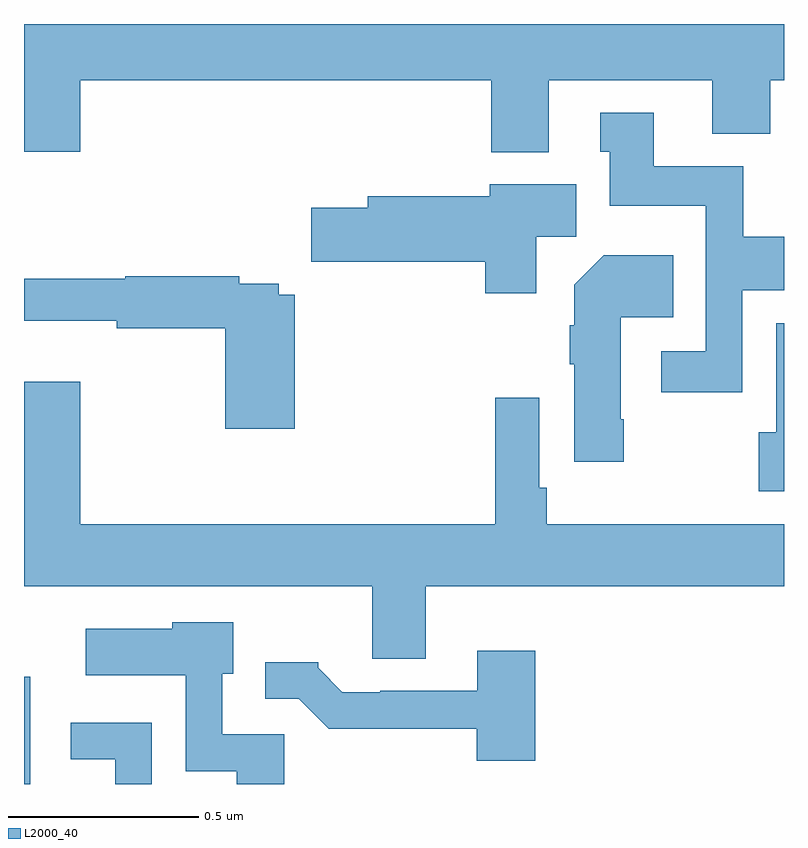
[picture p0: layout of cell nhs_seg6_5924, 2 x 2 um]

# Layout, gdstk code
import gdstk
lib = gdstk.Library(unit=1e-6, precision=1e-09)
def R(c, l, rs):  # rectangles x0, y0, x1, y1
    for r in rs: c.add(gdstk.rectangle(r[:2], r[2:], *l))
def P(c, l, *ps):  # polygons
    for p in ps: c.add(gdstk.Polygon(p, *l))
L2000_40 = (2000, 40)

nhs_seg6_5924 = lib.new_cell('nhs_seg6_5924')
R(nhs_seg6_5924, L2000_40, [(189,929.5,189.016,929.782)])
P(nhs_seg6_5924, L2000_40, [(190.381,931.352),(190.811,931.352),(190.811,931.211),(190.964,931.211),(190.964,931.352),(191,931.352),(191,931.5),(189,931.5),(189,931.164),(189.148,931.164),(189.148,931.352),(190.229,931.352),(190.229,931.163),(190.381,931.163)],
  [(190.89,930.8),(191,930.8),(191,930.94),(190.893,930.94),(190.893,931.126),(190.657,931.126),(190.657,931.267),(190.517,931.267),(190.517,931.164),(190.541,931.164),(190.541,931.022),(190.794,931.022),(190.794,930.639),(190.677,930.639),(190.677,930.531),(190.89,930.531)],
  [(190.348,930.94),(190.453,930.94),(190.453,931.078),(190.226,931.078),(190.226,931.047),(189.905,931.047),(189.905,931.017),(189.756,931.017),(189.756,930.875),(190.214,930.875),(190.214,930.792),(190.348,930.792)],
  [(190.578,930.46),(190.57,930.46),(190.57,930.728),(190.709,930.728),(190.709,930.892),(190.526,930.892),(190.448,930.814),(190.448,930.707),(190.436,930.707),(190.436,930.604),(190.448,930.604),(190.448,930.348),(190.578,930.348)],
  [(189.713,930.787),(189.67,930.787),(189.67,930.816),(189.566,930.816),(189.566,930.836),(189.266,930.836),(189.266,930.829),(189,930.829),(189,930.719),(189.244,930.719),(189.244,930.7),(189.53,930.7),(189.53,930.435),(189.713,930.435)],
  [(191,930.712),(190.979,930.712),(190.979,930.426),(190.933,930.426),(190.933,930.27),(191,930.27)],
  [(190.057,930.02),(191,930.02),(191,930.184),(190.376,930.184),(190.376,930.28),(190.356,930.28),(190.356,930.517),(190.24,930.517),(190.24,930.184),(189.148,930.184),(189.148,930.559),(189,930.559),(189,930.02),(189.917,930.02),(189.917,929.83),(190.057,929.83)],
  [(189.685,929.631),(189.522,929.631),(189.522,929.79),(189.55,929.79),(189.55,929.926),(189.39,929.926),(189.39,929.908),(189.162,929.908),(189.162,929.786),(189.426,929.786),(189.426,929.534),(189.56,929.534),(189.56,929.5),(189.685,929.5)],
  [(190.346,929.851),(190.193,929.851),(190.193,929.745),(189.937,929.745),(189.937,929.742),(189.838,929.742),(189.774,929.806),(189.774,929.821),(189.635,929.821),(189.635,929.724),(189.723,929.724),(189.802,929.646),(190.191,929.646),(190.191,929.561),(190.346,929.561)],
  [(189.336,929.661),(189.123,929.661),(189.123,929.565),(189.24,929.565),(189.24,929.5),(189.336,929.5)])

lib.write_gds('nhs_seg6_5924.gds')
